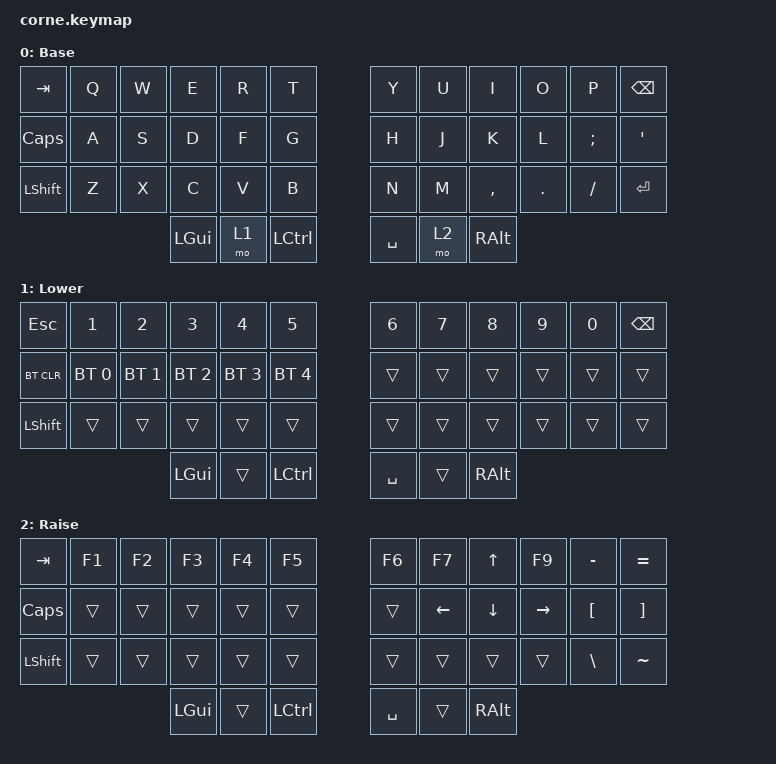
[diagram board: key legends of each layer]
/*
 * Copyright (c) 2020 The ZMK Contributors
 *
 * SPDX-License-Identifier: MIT
 */

#include <behaviors.dtsi>
#include <dt-bindings/zmk/bt.h>
#include <dt-bindings/zmk/keys.h>

/ {
    keymap {
        compatible = "zmk,keymap";

        default_layer {
            // -----------------------------------------------------------------------------------------
            // |  TAB |  Q  |  W  |  E  |  R  |  T  |   |  Y  |  U   |  I  |  O  |  P  | BKSP |
            // | CTRL |  A  |  S  |  D  |  F  |  G  |   |  H  |  J   |  K  |  L  |  ;  |  '   |
            // | SHFT |  Z  |  X  |  C  |  V  |  B  |   |  N  |  M   |  ,  |  .  |  /  | ESC  |
            //                    | GUI | LWR | SPC |   | ENT | RSE  | ALT |

            display-name = "Base";
            bindings = <
&kp TAB       &kp Q  &kp W  &kp E     &kp R  &kp T               &kp Y      &kp U  &kp I      &kp O    &kp P     &kp BSPC
&kp CAPSLOCK  &kp A  &kp S  &kp D     &kp F  &kp G               &kp H      &kp J  &kp K      &kp L    &kp SEMI  &kp SQT
&kp LSHFT     &kp Z  &kp X  &kp C     &kp V  &kp B               &kp N      &kp M  &kp COMMA  &kp DOT  &kp FSLH  &kp RETURN
                            &kp LGUI  &mo 1  &kp LEFT_CONTROL    &kp SPACE  &mo 2  &kp RALT
            >;
        };

        lower_layer {
            // -----------------------------------------------------------------------------------------
            // |  TAB |  1  |  2  |  3  |  4  |  5  |   |  6  |  7  |  8  |  9  |  0  | BKSP |
            // | BTCLR| BT1 | BT2 | BT3 | BT4 | BT5 |   | LFT | DWN |  UP | RGT |     |      |
            // | SHFT |     |     |     |     |     |   |     |     |     |     |     |      |
            //                    | GUI |     | SPC |   | ENT |     | ALT |

            display-name = "Lower";
            bindings = <
&kp ESC         &kp N1        &kp N2        &kp N3        &kp N4        &kp N5              &kp N6     &kp N7  &kp N8    &kp N9  &kp N0  &kp BSPC
&bt BT_CLR      &bt BT_SEL 0  &bt BT_SEL 1  &bt BT_SEL 2  &bt BT_SEL 3  &bt BT_SEL 4        &trans     &trans  &trans    &trans  &trans  &trans
&kp LEFT_SHIFT  &trans        &trans        &trans        &trans        &trans              &trans     &trans  &trans    &trans  &trans  &trans
                                            &kp LEFT_GUI  &trans        &kp LEFT_CONTROL    &kp SPACE  &trans  &kp RALT
            >;
        };

        raise_layer {
            // -----------------------------------------------------------------------------------------
            // |  TAB |  !  |  @  |  #  |  $  |  %  |   |  ^  |  &  |  *  |  (  |  )  | BKSP |
            // | CTRL |     |     |     |     |     |   |  -  |  =  |  [  |  ]  |  \  |  `   |
            // | SHFT |     |     |     |     |     |   |  _  |  +  |  {  |  }  | "|" |  ~   |
            //                    | GUI |     | SPC |   | ENT |     | ALT |

            display-name = "Raise";
            bindings = <
&kp TAB    &kp F1  &kp F2  &kp F3        &kp F4  &kp F5              &kp F6     &kp F7          &kp UP_ARROW  &kp F9     &kp MINUS         &kp EQUAL
&kp CAPS   &trans  &trans  &trans        &trans  &trans              &trans     &kp LEFT_ARROW  &kp DOWN      &kp RIGHT  &kp LEFT_BRACKET  &kp RIGHT_BRACKET
&kp LSHFT  &trans  &trans  &trans        &trans  &trans              &trans     &trans          &trans        &trans     &kp BACKSLASH     &kp TILDE
                           &kp LEFT_GUI  &trans  &kp LEFT_CONTROL    &kp SPACE  &trans          &kp RALT
            >;
        };
    };
};
